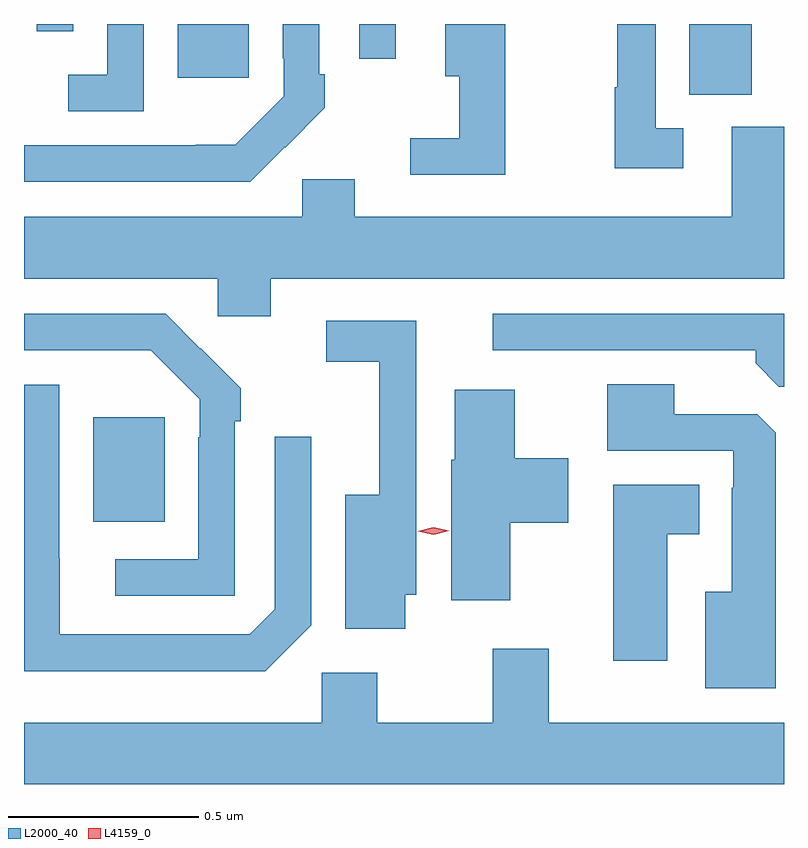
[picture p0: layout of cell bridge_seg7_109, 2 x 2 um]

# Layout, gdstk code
import gdstk
lib = gdstk.Library(unit=1e-6, precision=1e-09)
def R(c, l, rs):  # rectangles x0, y0, x1, y1
    for r in rs: c.add(gdstk.rectangle(r[:2], r[2:], *l))
def P(c, l, *ps):  # polygons
    for p in ps: c.add(gdstk.Polygon(p, *l))
L2000_40 = (2000, 40)
L4159_0 = (4159, 0)

bridge_seg7_109 = lib.new_cell('bridge_seg7_109')
R(bridge_seg7_109, L2000_40, [(1081.721,1010.633,1081.909,1010.908), (1083.29,1011.757,1083.454,1011.943), (1081.943,1011.801,1082.131,1011.943), (1082.421,1011.852,1082.517,1011.943), (1081.572,1011.924,1081.668,1011.943)])
P(bridge_seg7_109, L2000_40, [(1082.806,1011.943),(1082.648,1011.943),(1082.648,1011.806),(1082.685,1011.806),(1082.685,1011.643),(1082.556,1011.643),(1082.556,1011.546),(1082.806,1011.546)],
  [(1082.225,1011.619),(1082.226,1011.618),(1082.331,1011.723),(1082.331,1011.811),(1082.316,1011.811),(1082.316,1011.943),(1082.22,1011.943),(1082.22,1011.853),(1082.223,1011.853),(1082.223,1011.753),(1082.095,1011.625),(1081.991,1011.625),(1081.991,1011.624),(1081.539,1011.624),(1081.539,1011.528),(1082.134,1011.528)],
  [(1083.274,1011.669),(1083.201,1011.669),(1083.201,1011.943),(1083.1,1011.943),(1083.1,1011.776),(1083.093,1011.776),(1083.093,1011.564),(1083.274,1011.564)],
  [(1081.854,1011.943),(1081.758,1011.943),(1081.758,1011.81),(1081.656,1011.81),(1081.656,1011.714),(1081.854,1011.714)],
  [(1082.188,1011.272),(1083.539,1011.272),(1083.539,1011.672),(1083.401,1011.672),(1083.401,1011.436),(1082.41,1011.436),(1082.41,1011.534),(1082.271,1011.534),(1082.271,1011.436),(1081.539,1011.436),(1081.539,1011.272),(1082.049,1011.272),(1082.049,1011.174),(1082.188,1011.174)],
  [(1083.539,1011.18),(1082.772,1011.18),(1082.772,1011.084),(1083.464,1011.084),(1083.464,1011.05),(1083.525,1010.988),(1083.539,1010.988)],
  [(1082.094,1010.897),(1082.109,1010.897),(1082.109,1010.985),(1082.004,1011.09),(1082.003,1011.089),(1081.912,1011.18),(1081.539,1011.18),(1081.539,1011.084),(1081.873,1011.084),(1082.001,1010.955),(1082.001,1010.855),(1081.998,1010.855),(1081.998,1010.535),(1081.779,1010.535),(1081.779,1010.439),(1082.094,1010.439)],
  [(1082.542,1010.441),(1082.571,1010.441),(1082.571,1011.162),(1082.334,1011.162),(1082.334,1011.054),(1082.474,1011.054),(1082.474,1010.704),(1082.384,1010.704),(1082.384,1010.352),(1082.542,1010.352)],
  [(1083.517,1010.867),(1083.468,1010.916),(1083.25,1010.916),(1083.25,1010.995),(1083.074,1010.995),(1083.074,1010.82),(1083.405,1010.82),(1083.405,1010.723),(1083.401,1010.723),(1083.401,1010.449),(1083.332,1010.449),(1083.332,1010.195),(1083.517,1010.195)],
  [(1082.295,1010.361),(1082.295,1010.857),(1082.199,1010.857),(1082.199,1010.403),(1082.133,1010.337),(1081.633,1010.337),(1081.633,1010.537),(1081.632,1010.537),(1081.632,1010.994),(1081.539,1010.994),(1081.539,1010.24),(1082.174,1010.24)],
  [(1082.818,1010.631),(1082.971,1010.631),(1082.971,1010.8),(1082.83,1010.8),(1082.83,1010.98),(1082.672,1010.98),(1082.672,1010.796),(1082.663,1010.796),(1082.663,1010.427),(1082.818,1010.427)],
  [(1083.232,1010.6),(1083.316,1010.6),(1083.316,1010.731),(1083.089,1010.731),(1083.089,1010.268),(1083.232,1010.268)],
  [(1083.539,1010.104),(1082.92,1010.104),(1082.92,1010.299),(1082.773,1010.299),(1082.773,1010.104),(1082.469,1010.104),(1082.469,1010.236),(1082.322,1010.236),(1082.322,1010.104),(1081.539,1010.104),(1081.539,1009.943),(1083.539,1009.943)])
P(bridge_seg7_109, L4159_0, [(1082.617,1010.599),(1082.575,1010.608),(1082.575,1010.608),(1082.575,1010.608),(1082.616,1010.619),(1082.658,1010.61),(1082.658,1010.609),(1082.658,1010.609)])

lib.write_gds('bridge_seg7_109.gds')
